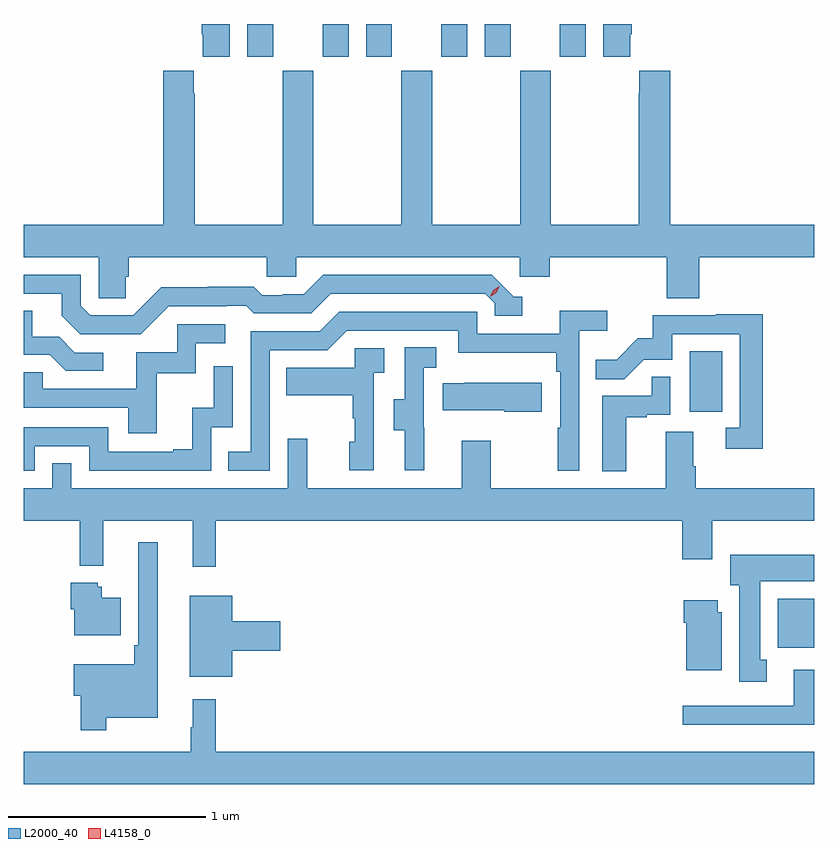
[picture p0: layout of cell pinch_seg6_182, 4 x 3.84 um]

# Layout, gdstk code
import gdstk
lib = gdstk.Library(unit=1e-6, precision=1e-09)
def R(c, l, rs):  # rectangles x0, y0, x1, y1
    for r in rs: c.add(gdstk.rectangle(r[:2], r[2:], *l))
def P(c, l, *ps):  # polygons
    for p in ps: c.add(gdstk.Polygon(p, *l))
L2000_40 = (2000, 40)
L4158_0 = (4158, 0)

pinch_seg6_182 = lib.new_cell('pinch_seg6_182')
R(pinch_seg6_182, L2000_40, [(1039.155,930.708,1039.34,930.958), (1038.71,931.902,1038.874,932.209), (1036.472,933.699,1036.603,933.864), (1036.853,933.699,1036.984,933.864), (1037.072,933.699,1037.203,933.864), (1037.453,933.699,1037.584,933.864), (1037.672,933.699,1037.803,933.864), (1038.053,933.699,1038.184,933.864)])
P(pinch_seg6_182, L2000_40, [(1036.384,933.864),(1036.241,933.864),(1036.241,933.811),(1036.247,933.811),(1036.247,933.699),(1036.384,933.699)],
  [(1038.409,933.811),(1038.416,933.811),(1038.416,933.864),(1038.272,933.864),(1038.272,933.699),(1038.409,933.699)],
  [(1038.593,932.476),(1038.757,932.476),(1038.757,932.684),(1039.34,932.684),(1039.34,932.848),(1038.611,932.848),(1038.611,933.628),(1038.455,933.628),(1038.455,933.515),(1038.451,933.515),(1038.451,932.848),(1038.006,932.848),(1038.006,933.628),(1037.851,933.628),(1037.851,932.848),(1037.406,932.848),(1037.406,933.628),(1037.251,933.628),(1037.251,932.848),(1036.805,932.848),(1036.805,933.628),(1036.651,933.628),(1036.651,932.848),(1036.206,932.848),(1036.206,933.515),(1036.201,933.515),(1036.201,933.628),(1036.046,933.628),(1036.046,932.848),(1035.34,932.848),(1035.34,932.684),(1035.72,932.684),(1035.72,932.476),(1035.857,932.476),(1035.857,932.586),(1035.872,932.586),(1035.872,932.684),(1036.569,932.684),(1036.569,932.586),(1036.719,932.586),(1036.719,932.684),(1037.85,932.684),(1037.85,932.586),(1038.002,932.586),(1038.002,932.684),(1038.593,932.684)],
  [(1036.074,932.436),(1036.367,932.436),(1036.367,932.439),(1036.466,932.439),(1036.505,932.4),(1036.794,932.4),(1036.893,932.499),(1037.676,932.499),(1037.724,932.451),(1037.724,932.388),(1037.863,932.388),(1037.863,932.484),(1037.82,932.484),(1037.709,932.595),(1036.856,932.595),(1036.757,932.496),(1036.65,932.496),(1036.65,932.493),(1036.547,932.493),(1036.505,932.536),(1036.272,932.536),(1036.272,932.533),(1036.036,932.533),(1035.894,932.391),(1035.678,932.391),(1035.63,932.439),(1035.63,932.595),(1035.34,932.595),(1035.34,932.499),(1035.533,932.499),(1035.533,932.389),(1035.627,932.295),(1035.933,932.295)],
  [(1036.584,932.214),(1036.875,932.214),(1036.974,932.313),(1037.538,932.313),(1037.538,932.201),(1038.034,932.201),(1038.034,932.105),(1038.054,932.105),(1038.054,931.823),(1038.042,931.823),(1038.042,931.605),(1038.15,931.605),(1038.15,932.312),(1038.292,932.312),(1038.292,932.414),(1038.053,932.414),(1038.053,932.298),(1037.634,932.298),(1037.634,932.409),(1036.937,932.409),(1036.838,932.31),(1036.488,932.31),(1036.488,931.701),(1036.375,931.701),(1036.375,931.605),(1036.584,931.605)],
  [(1035.742,932.202),(1035.6,932.202),(1035.52,932.282),(1035.385,932.282),(1035.385,932.414),(1035.34,932.414),(1035.34,932.19),(1035.473,932.19),(1035.554,932.109),(1035.742,932.109)],
  [(1039.079,932.396),(1038.841,932.396),(1038.841,932.391),(1038.523,932.391),(1038.523,932.274),(1038.446,932.274),(1038.339,932.167),(1038.235,932.167),(1038.235,932.068),(1038.378,932.068),(1038.476,932.166),(1038.621,932.166),(1038.621,932.295),(1038.963,932.295),(1038.963,931.821),(1038.891,931.821),(1038.891,931.716),(1039.079,931.716)],
  [(1036.013,932.097),(1036.212,932.097),(1036.212,932.25),(1036.36,932.25),(1036.36,932.346),(1036.116,932.346),(1036.116,932.205),(1035.911,932.205),(1035.911,932.019),(1035.437,932.019),(1035.437,932.103),(1035.34,932.103),(1035.34,931.923),(1035.869,931.923),(1035.869,931.794),(1036.013,931.794)],
  [(1037.366,931.821),(1037.364,931.821),(1037.364,932.125),(1037.428,932.125),(1037.428,932.228),(1037.268,932.228),(1037.268,931.965),(1037.213,931.965),(1037.213,931.81),(1037.267,931.81),(1037.267,931.608),(1037.366,931.608)],
  [(1037.112,932.099),(1037.164,932.099),(1037.164,932.223),(1037.016,932.223),(1037.016,932.125),(1036.669,932.125),(1036.669,931.985),(1037.004,931.985),(1037.004,931.871),(1037.014,931.871),(1037.014,931.752),(1036.988,931.752),(1036.988,931.608),(1037.112,931.608)],
  [(1035.396,931.728),(1035.672,931.728),(1035.672,931.605),(1036.29,931.605),(1036.29,931.824),(1036.398,931.824),(1036.398,932.134),(1036.302,932.134),(1036.302,931.922),(1036.193,931.922),(1036.193,931.714),(1036.097,931.714),(1036.097,931.701),(1035.768,931.701),(1035.768,931.824),(1035.34,931.824),(1035.34,931.605),(1035.396,931.605)],
  [(1038.388,931.875),(1038.491,931.875),(1038.491,931.887),(1038.612,931.887),(1038.612,932.081),(1038.517,932.081),(1038.517,931.983),(1038.266,931.983),(1038.266,931.601),(1038.388,931.601)],
  [(1037.962,932.05),(1037.569,932.05),(1037.569,932.047),(1037.461,932.047),(1037.461,931.91),(1037.771,931.91),(1037.771,931.903),(1037.962,931.903)],
  [(1038.671,931.158),(1038.823,931.158),(1038.823,931.352),(1039.34,931.352),(1039.34,931.516),(1038.74,931.516),(1038.74,931.628),(1038.727,931.628),(1038.727,931.802),(1038.587,931.802),(1038.587,931.516),(1037.703,931.516),(1037.703,931.756),(1037.555,931.756),(1037.555,931.516),(1036.775,931.516),(1036.775,931.765),(1036.677,931.765),(1036.677,931.516),(1035.582,931.516),(1035.582,931.643),(1035.486,931.643),(1035.486,931.516),(1035.34,931.516),(1035.34,931.352),(1035.625,931.352),(1035.625,931.124),(1035.743,931.124),(1035.743,931.352),(1036.196,931.352),(1036.196,931.119),(1036.313,931.119),(1036.313,931.352),(1038.671,931.352)],
  [(1035.757,930.356),(1036.018,930.356),(1036.018,931.243),(1035.921,931.243),(1035.921,930.721),(1035.901,930.721),(1035.901,930.625),(1035.594,930.625),(1035.594,930.467),(1035.628,930.467),(1035.628,930.291),(1035.757,930.291)],
  [(1039.099,930.649),(1039.066,930.649),(1039.066,931.046),(1039.34,931.046),(1039.34,931.18),(1038.914,931.18),(1038.914,931.026),(1038.959,931.026),(1038.959,930.537),(1039.099,930.537)],
  [(1035.832,930.961),(1035.736,930.961),(1035.736,931.017),(1035.714,931.017),(1035.714,931.039),(1035.578,931.039),(1035.578,930.903),(1035.596,930.903),(1035.596,930.773),(1035.832,930.773)],
  [(1036.396,930.695),(1036.639,930.695),(1036.639,930.842),(1036.396,930.842),(1036.396,930.973),(1036.181,930.973),(1036.181,930.563),(1036.396,930.563)],
  [(1038.871,930.888),(1038.85,930.888),(1038.85,930.949),(1038.68,930.949),(1038.68,930.836),(1038.692,930.836),(1038.692,930.596),(1038.871,930.596)],
  [(1039.34,930.598),(1039.235,930.598),(1039.235,930.417),(1038.675,930.417),(1038.675,930.32),(1039.34,930.32)],
  [(1039.34,930.184),(1036.313,930.184),(1036.313,930.448),(1036.196,930.448),(1036.196,930.308),(1036.185,930.308),(1036.185,930.184),(1035.34,930.184),(1035.34,930.02),(1039.34,930.02)])
P(pinch_seg6_182, L4158_0, [(1037.7,932.485),(1037.7,932.485),(1037.716,932.518),(1037.746,932.537),(1037.747,932.537),(1037.747,932.537),(1037.731,932.504),(1037.7,932.485)])

lib.write_gds('pinch_seg6_182.gds')
